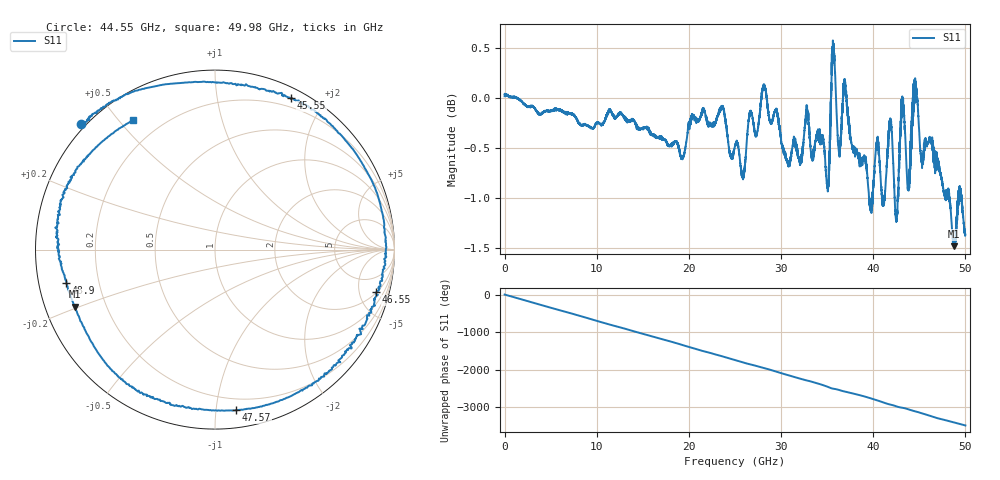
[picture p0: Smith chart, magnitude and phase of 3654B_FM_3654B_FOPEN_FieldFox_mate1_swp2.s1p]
!Created with skrf (http://scikit-rf.org).
# Hz S RI R 50.0
!freq ReS11 ImS11
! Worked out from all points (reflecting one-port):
!   10001 points, 300 kHz to 50 GHz, reference 50 ohm
!   lowest |S11| = -1.5 dB at 48.76 GHz (marker M1), VSWR 11.76, Z = 4.41 - j9.69 ohm
!   phase of S11 starts at 0 deg and turns -3479 deg over the sweep
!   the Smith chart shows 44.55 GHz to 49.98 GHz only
!   S11 on the Smith chart (normalised r, x): 44.55 GHz: -0.01, +0.40; 45.55 GHz: 0.11, +1.62; 46.55 GHz: 2.06, -7.09; 47.57 GHz: 0.12, -1.14; 48.9 GHz: 0.08, -0.11; 49.98 GHz: 0.10, +0.54
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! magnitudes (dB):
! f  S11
! 300 kHz  0.0
! 6.25 GHz  -0.1
! 12.5 GHz  -0.1
! 18.75 GHz  -0.4
! 25 GHz  -0.5
! 25.89 GHz  -0.8
! 28.15 GHz  0.1
! 31.25 GHz  -0.5
! 35.03 GHz  -0.9
! 35.7 GHz  0.5
! 36.28 GHz  -0.5
! 36.9 GHz  0.2
! 37.5 GHz  -0.4
! 39.74 GHz  -1.1
! 40.43 GHz  -0.4
! 41.16 GHz  -1.0
! 41.86 GHz  -0.2
! 42.51 GHz  -1.2
! 43.21 GHz  -0.1
! 43.75 GHz  -0.9
! 44.55 GHz  0.2
! 45.55 GHz  -0.5
! 46.55 GHz  -0.6
! 47.57 GHz  -0.9
! 48.76 GHz  -1.5
! 48.9 GHz  -1.4
! 49.98 GHz  -1.4
! 50 GHz  -1.4
